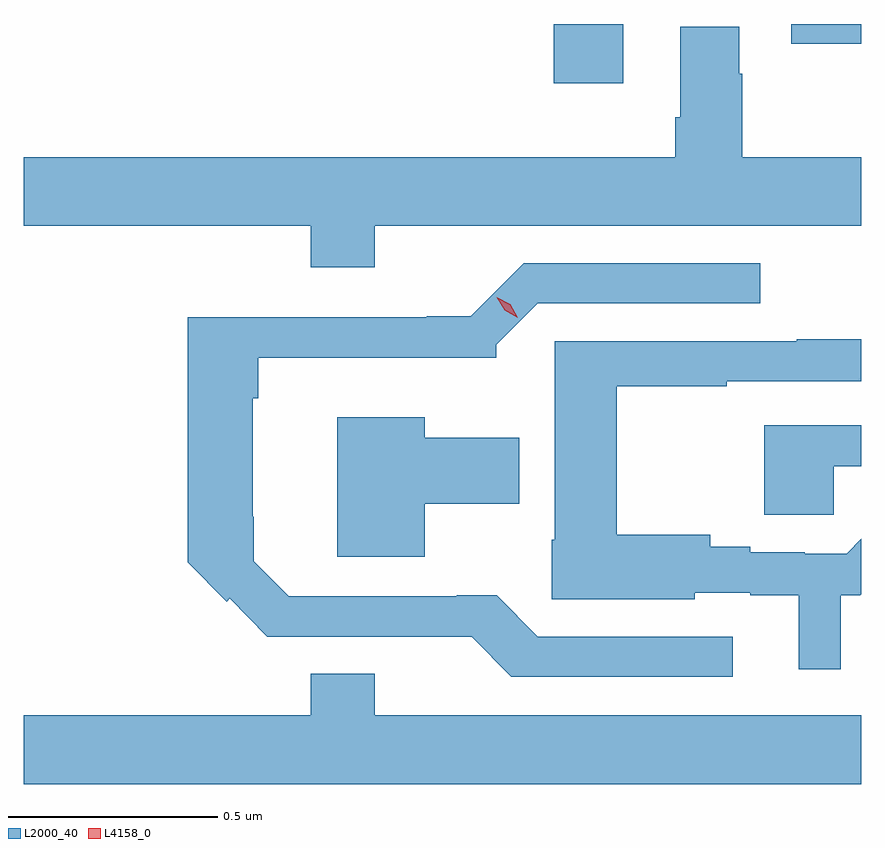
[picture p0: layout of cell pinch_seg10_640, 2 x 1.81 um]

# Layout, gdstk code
import gdstk
lib = gdstk.Library(unit=1e-6, precision=1e-09)
def R(c, l, rs):  # rectangles x0, y0, x1, y1
    for r in rs: c.add(gdstk.rectangle(r[:2], r[2:], *l))
def P(c, l, *ps):  # polygons
    for p in ps: c.add(gdstk.Polygon(p, *l))
L2000_40 = (2000, 40)
L4158_0 = (4158, 0)

pinch_seg10_640 = lib.new_cell('pinch_seg10_640')
R(pinch_seg10_640, L2000_40, [(347.168,1283.34,347.335,1283.482), (347.736,1283.435,347.903,1283.482)])
P(pinch_seg10_640, L2000_40, [(346.741,1283),(347.903,1283),(347.903,1283.164),(347.619,1283.164),(347.619,1283.363),(347.611,1283.363),(347.611,1283.476),(347.471,1283.476),(347.471,1283.26),(347.459,1283.26),(347.459,1283.164),(345.903,1283.164),(345.903,1283),(346.589,1283),(346.589,1282.901),(346.741,1282.901)],
  [(347.596,1282.02),(347.13,1282.02),(347.032,1282.119),(346.937,1282.119),(346.937,1282.116),(346.536,1282.116),(346.453,1282.2),(346.453,1282.306),(346.45,1282.306),(346.45,1282.589),(346.463,1282.589),(346.463,1282.685),(347.031,1282.685),(347.031,1282.716),(347.13,1282.815),(347.662,1282.815),(347.662,1282.911),(347.097,1282.911),(346.97,1282.784),(346.865,1282.784),(346.865,1282.782),(346.295,1282.782),(346.295,1282.197),(346.388,1282.103),(346.395,1282.111),(346.485,1282.02),(346.868,1282.02),(346.868,1282.019),(346.973,1282.019),(347.067,1281.924),(347.596,1281.924)],
  [(347.854,1282.118),(347.9,1282.118),(347.903,1282.121),(347.903,1282.253),(347.868,1282.218),(347.768,1282.218),(347.768,1282.221),(347.638,1282.221),(347.638,1282.234),(347.542,1282.234),(347.542,1282.263),(347.319,1282.263),(347.319,1282.617),(347.582,1282.617),(347.582,1282.629),(347.903,1282.629),(347.903,1282.73),(347.749,1282.73),(347.749,1282.725),(347.171,1282.725),(347.171,1282.251),(347.164,1282.251),(347.164,1282.109),(347.505,1282.109),(347.505,1282.125),(347.638,1282.125),(347.638,1282.118),(347.753,1282.118),(347.753,1281.942),(347.854,1281.942)],
  [(346.861,1282.337),(347.086,1282.337),(347.086,1282.495),(346.861,1282.495),(346.861,1282.543),(346.652,1282.543),(346.652,1282.211),(346.861,1282.211)],
  [(347.837,1282.427),(347.903,1282.427),(347.903,1282.524),(347.671,1282.524),(347.671,1282.311),(347.837,1282.311)],
  [(347.903,1281.832),(346.741,1281.832),(346.741,1281.931),(346.589,1281.931),(346.589,1281.832),(345.903,1281.832),(345.903,1281.668),(347.903,1281.668)])
P(pinch_seg10_640, L4158_0, [(347.083,1282.781),(347.051,1282.799),(347.032,1282.83),(347.032,1282.83),(347.033,1282.83),(347.065,1282.813),(347.083,1282.781),(347.083,1282.781)])

lib.write_gds('pinch_seg10_640.gds')
